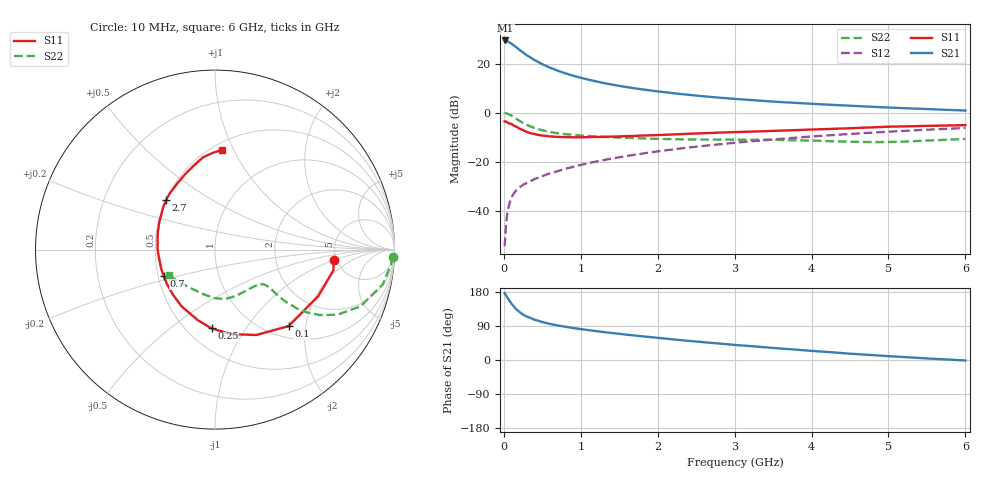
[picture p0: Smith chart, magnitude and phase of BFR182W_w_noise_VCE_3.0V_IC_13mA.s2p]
! Infineon Technologies  Discrete & RF Semiconductors
! BFR182W
! VCE =  3.0 V,  IC =  13 mA
! Common Emitter S-Parameters:  Jan 2017
# GHz  S  MA  R  50
!  f  S11  S21  S12  S22
! GHz  MAG  ANG  MAG  ANG  MAG  ANG  MAG  ANG
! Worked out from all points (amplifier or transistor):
!   77 points, 10 MHz to 6 GHz, reference 50 ohm
!   highest |S21| = 29.5 dB at 20 MHz (marker M1)
!   |S21| within 3 dB of that: start of sweep to 170.3 MHz
!   unconditionally stable (mu >= 1): 943.1 MHz to 2.555 GHz
!   at 130 MHz: K = 0.33, MSG = 30.2 dB, |S12| = -32.9 dB
!   at 2.2 GHz: K = 1.02, MAG = 10.6 dB, |S12| = -15.0 dB
!   at 6 GHz: K = 0.87, MSG = 3.6 dB, |S12| = -6.2 dB
!   lowest NFmin = 1.17 dB at 450 MHz
!   S11 on the Smith chart (normalised r, x): 10 MHz: 4.74, -0.98; 100 MHz: 1.23, -1.61; 250 MHz: 0.66, -0.71; 700 MHz: 0.54, -0.17; 2.7 GHz: 0.50, +0.32; 6 GHz: 0.56, +0.90
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0.01  0.6639 -5.0  29.69 176.3  0.0019 88.5  0.9914 -2.3
0.02  0.6699 -9.9  29.76 173.1  0.0033 90.9  0.9841 -4.9
0.05  0.6315 -24.1  28.57 163.0  0.0099 78.8  0.9549 -11.7
0.1  0.5915 -46.1  25.67 148.2  0.0189 72.7  0.8707 -21.3
0.15  0.5285 -64.2  22.34 136.3  0.0251 65.7  0.773 -28.0
0.2  0.4785 -79.6  19.33 127.2  0.0297 63.4  0.688 -32.0
0.25  0.4391 -92.5  16.86 119.9  0.034 61.0  0.619 -34.4
0.3  0.4055 -103.4  14.78 114.5  0.037 60.1  0.5621 -35.7
0.4  0.3672 -120.4  11.82 106.1  0.0443 61.7  0.4859 -36.4
0.5  0.3427 -133.6  9.741 100.1  0.0509 62.1  0.4378 -36.2
0.6  0.329 -144.3  8.296 95.2  0.0581 63.0  0.4048 -35.6
0.7  0.3213 -152.9  7.188 91.2  0.0644 65.1  0.3819 -35.1
0.9  0.3152 -167.0  5.682 84.4  0.0788 65.8  0.3533 -34.9
1.1  0.3184 -177.9  4.72 78.8  0.0936 66.9  0.3357 -35.4
1.3  0.3215 173.2  4.03 73.7  0.1081 66.9  0.3227 -36.7
1.5  0.3289 166.0  3.531 69.1  0.1235 66.9  0.3117 -38.9
2.1  0.3547 148.2  2.609 56.5  0.1707 64.6  0.2908 -48.8
2.7  0.387 134.7  2.094 45.2  0.219 61.0  0.283 -61.9
3.1  0.4066 126.5  1.866 38.3  0.2516 58.1  0.281 -70.5
4.1  0.4594 109.6  1.493 22.7  0.3356 49.9  0.267 -92.7
5.1  0.5226 96.0  1.257 9.0  0.4179 40.4  0.255 -124.8
6  0.5581 85.9  1.107 -1.3  0.4882 31.3  0.2937 -151.8
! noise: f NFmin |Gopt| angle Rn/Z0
0.45  1.17  0.04  108  0.14
0.9  1.26  0.05  122  0.14
1.9  1.73  0.23  -151  0.14
2.4  2  0.22  -136  0.21
